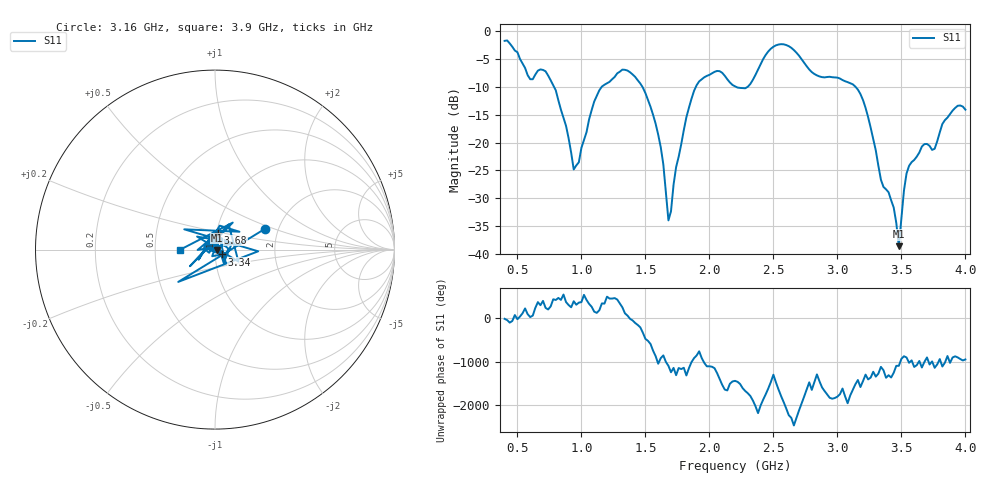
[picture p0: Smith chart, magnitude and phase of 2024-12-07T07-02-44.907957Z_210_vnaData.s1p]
!Created with skrf (http://scikit-rf.org).
# Hz S RI R 50.0
!freq ReS11 ImS11
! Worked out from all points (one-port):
!   181 points, 400 MHz to 4 GHz, reference 50 ohm
!   lowest |S11| = -38.6 dB at 3.48 GHz (marker M1), VSWR 1.02, Z = 51.2 - j0.236 ohm
!   |S11| at or under -10 dB: 785.8 MHz to 1.158 GHz (372.7 MHz wide, 38.3 % of centre); 1.477 GHz to 1.894 GHz (417.6 MHz wide, 24.8 % of centre); 3.142 GHz to end of sweep (the widest 3 of 4)
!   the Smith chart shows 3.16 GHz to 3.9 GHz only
!   S11 on the Smith chart (normalised r, x): 3.16 GHz: 1.70, +0.43; 3.34 GHz: 1.08, -0.06; 3.68 GHz: 1.02, +0.20; 3.9 GHz: 0.68, -0.00
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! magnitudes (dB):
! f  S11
! 400 MHz  -1.7
! 600 MHz  -8.6
! 720 MHz  -7.2
! 860 MHz  -15.5
! 940 MHz  -24.8
! 1.14 GHz  -10.6
! 1.3 GHz  -7.3
! 1.54 GHz  -13.6
! 1.62 GHz  -20.8
! 1.68 GHz  -34.0
! 1.76 GHz  -22.5
! 1.92 GHz  -9.0
! 2.08 GHz  -7.2
! 2.2 GHz  -9.9
! 2.3 GHz  -10.0
! 2.5 GHz  -2.8
! 2.66 GHz  -3.4
! 3.1 GHz  -9.3
! 3.16 GHz  -10.5
! 3.34 GHz  -26.7
! 3.44 GHz  -31.7
! 3.48 GHz  -38.6
! 3.52 GHz  -28.6
! 3.56 GHz  -24.2
! 3.68 GHz  -20.3
! 3.76 GHz  -21.1
! 3.9 GHz  -14.3
! 4 GHz  -14.1
